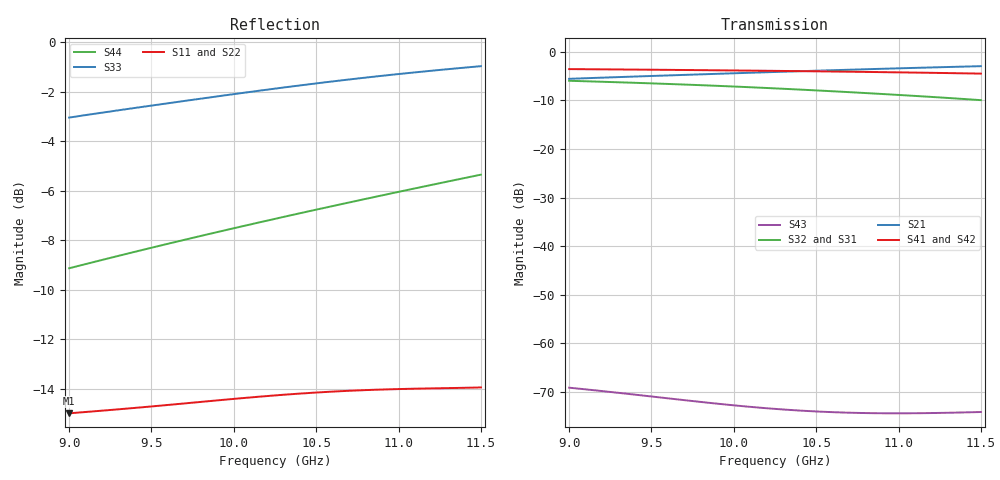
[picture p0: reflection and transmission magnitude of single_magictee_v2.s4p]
! Touchstone file exported from HFSS 2025.2.4
!  File:  C:/Users/chaoy/Documents/single_magictee_v2_stageA/g2_5p00mm_lt_4p50mm/single_magictee_v2.aedt
!  Generated:  02:57:33 PM Sep 19, 2026
!  Design:  SingleMagicT_v2
!  Project:  single_magictee_v2
! Variables:
!  f_adapt = 10.2GHz
!  ridge_g1 = 7.672mm
!  ridge_g2 = 5mm
!  ridge_l1 = 9.872mm
!  ridge_l2 = 8.857mm
!  ridge_w = 4.572mm
!  terminal_ridge_len = 4.5mm
!  wg_a = 22.86mm
!  wg_b = 10.16mm
!Data is not renormalized
# GHz S MA
! Terminal data exported
! Port[1] = P1_CollinearMinusX
! Port[2] = P2_CollinearPlusX
! Port[3] = P3_HArm_Ridged
! Port[4] = P4_EArm
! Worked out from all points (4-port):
!   101 points, 9 GHz to 11.5 GHz, reference per port
!   strongest paths, dB at 9 GHz, 9.625 GHz, 10.25 GHz, 10.88 GHz, 11.5 GHz:
!     S41: -3.6, -3.7, -3.9, -4.2, -4.5
!     S42: -3.6, -3.7, -3.9, -4.2, -4.5
!     S21: -5.6, -4.9, -4.2, -3.5, -3.0
!     S32: -6.0, -6.7, -7.5, -8.6, -10.0
!     S31: -6.0, -6.7, -7.5, -8.7, -10.0
!     S43: -69.1, -71.4, -73.5, -74.4, -74.1
!   lowest |S11| = -15.0 dB at 9 GHz (marker M1), VSWR 1.43
!   |S11| at or under -10 dB: start of sweep to end of sweep
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9  0.1781 -152.7  0.5263 -157.7  0.5023 116.6  0.6625 45.1
   0.5263 -157.7  0.1777 -152.8  0.5024 116.6  0.6625 -134.9
   0.5023 116.6  0.5024 116.6  0.7037 -150.4  0.0003497 105.2
   0.6625 45.1  0.6625 -134.9  0.0003497 105.2  0.3494 -109.5
9.475  0.1836 159.2  0.5611 147.9  0.4739 60.1  0.6534 -8.9
       0.5611 147.9  0.1836 159.1  0.4741 60.1  0.6532 171.1
       0.4739 60.1  0.4741 60.1  0.742 149.5  0.0002871 28.0
       0.6534 -8.9  0.6532 171.1  0.0002871 28.0  0.3826 -160.4
10.025  0.1908 104.5  0.602 87.6  0.4363 -3.8  0.641 -69.0
        0.602 87.6  0.1914 104.4  0.4366 -3.7  0.6406 111.1
        0.4363 -3.8  0.4366 -3.7  0.7868 80.8  0.0002282 -61.7
        0.641 -69.0  0.6406 111.1  0.0002282 -61.7  0.4227 142.1
10.425  0.1955 64.9  0.6321 44.9  0.4056 -49.3  0.6306 -111.4
        0.6321 44.9  0.1964 64.8  0.4059 -49.2  0.6301 68.6
        0.4056 -49.3  0.4059 -49.2  0.819 31.9  0.0002023 -124.9
        0.6306 -111.4  0.6301 68.6  0.0002023 -124.9  0.453 100.9
10.75  0.1981 32.9  0.6564 10.7  0.3794 -85.8  0.6212 -145.3
       0.6564 10.7  0.1992 32.8  0.3798 -85.7  0.6207 34.7
       0.3794 -85.8  0.3798 -85.7  0.8437 -7.2  0.0001925 -172.8
       0.6212 -145.3  0.6207 34.7  0.0001925 -172.8  0.4783 67.8
11.175  0.1999 -8.5  0.6873 -33.6  0.3445 -133.1  0.6074 170.8
        0.6873 -33.6  0.2011 -8.6  0.3448 -133.0  0.6068 -9.2
        0.3445 -133.1  0.3448 -133.0  0.8732 -58.1  0.0001916 131.3
        0.6074 170.8  0.6068 -9.2  0.0001916 131.3  0.5126 24.7
11.5  0.2009 -39.4  0.7102 -67.1  0.3173 -169.4  0.5955 137.4
      0.7102 -67.1  0.202 -39.5  0.3176 -169.3  0.595 -42.5
      0.3173 -169.4  0.3176 -169.3  0.8936 -97.6  0.0001966 93.7
      0.5955 137.4  0.595 -42.5  0.0001966 93.7  0.5398 -8.0
